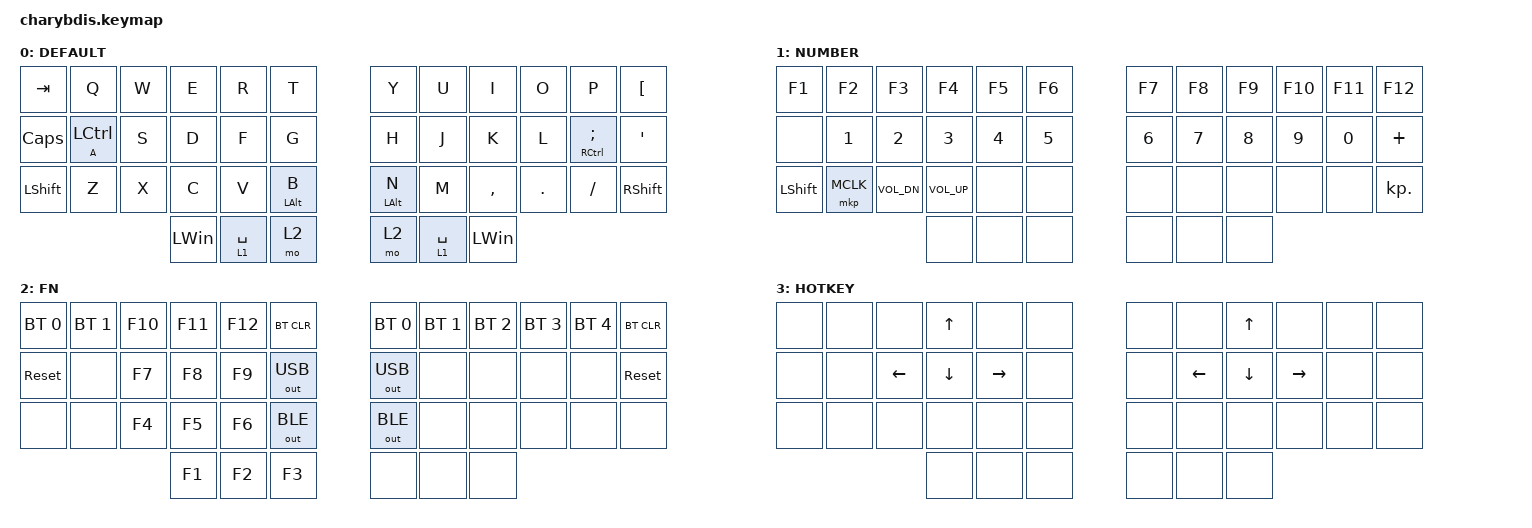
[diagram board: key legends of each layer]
#include <dt-bindings/zmk/mouse.h>
#include <behaviors.dtsi>
#include <dt-bindings/zmk/bt.h>
#include <dt-bindings/zmk/keys.h>
#include <dt-bindings/zmk/outputs.h>

#define DEFAULT 0
#define NUMBER  1
#define FN  2
#define HOTKEY  3

/ {
    combos {
        compatible = "zmk,combos";

        scrollLayer {
            bindings = <&tog 3>;
            key-positions = <32 33>;
        };

        Enter {
            bindings = <&kp ENTER>;
            key-positions = <8 9>;
        };

        backspace {
            bindings = <&kp BACKSPACE>;
            key-positions = <7 8>;
        };

        delete {
            bindings = <&kp DELETE>;
            key-positions = <2 3>;
        };

        leftClick {
            bindings = <&mkp LCLK>;
            key-positions = <19 20>;
        };

        rightClick {
            bindings = <&mkp RCLK>;
            key-positions = <20 21>;
        };

        middleClick {
            bindings = <&mkp MCLK>;
            key-positions = <22 21>;
        };

        win {
            bindings = <&kp LEFT_WIN>;
            key-positions = <31 32>;
        };

        insert {
            bindings = <&kp INSERT>;
            key-positions = <34 33>;
        };
    };

    keymap {
        compatible = "zmk,keymap";

        default_layer {
            label = "DEFAULT";
            bindings = <
&kp TAB       &kp Q               &kp W  &kp E         &kp R        &kp T           &kp Y           &kp U        &kp I         &kp O    &kp P                        &kp LEFT_BRACKET
&kp CAPSLOCK  &mt A LEFT_CONTROL  &kp S  &kp D         &kp F        &kp G           &kp H           &kp J        &kp K         &kp L    &mt RIGHT_CONTROL SEMICOLON  &kp SQT
&kp LSHFT     &kp Z               &kp X  &kp C         &kp V        &mt LEFT_ALT B  &mt LEFT_ALT N  &kp M        &kp COMMA     &kp DOT  &kp FSLH                     &kp RSHFT
                                         &kp LEFT_WIN  &lt 1 SPACE  &mo 2           &mo 2           &lt 1 SPACE  &kp LEFT_WIN
            >;
        };

        number_layer {
            label = "NUMBER";
            bindings = <
&kp F1     &kp F2     &kp F3        &kp F4        &kp F5  &kp F6  &kp F7  &kp F8  &kp F9  &kp F10  &kp F11  &kp F12
&none      &kp N1     &kp N2        &kp N3        &kp N4  &kp N5  &kp N6  &kp N7  &kp N8  &kp N9   &kp N0   &kp PLUS
&kp LSHFT  &mkp MCLK  &kp C_VOL_DN  &kp C_VOL_UP  &none   &none   &none   &none   &none   &none    &none    &kp KP_DOT
                                    &none         &none   &none   &none   &none   &none
            >;
        };

        fn_layer {
            label = "FN";
            bindings = <
&bt BT_SEL 0  &bt BT_SEL 1  &kp F10  &kp F11  &kp F12  &bt BT_CLR    &bt BT_SEL 0  &bt BT_SEL 1  &bt BT_SEL 2  &bt BT_SEL 3  &bt BT_SEL 4  &bt BT_CLR
&sys_reset    &none         &kp F7   &kp F8   &kp F9   &out OUT_USB  &out OUT_USB  &none         &none         &none         &none         &sys_reset
&none         &none         &kp F4   &kp F5   &kp F6   &out OUT_BLE  &out OUT_BLE  &none         &none         &none         &none         &none
                                     &kp F1   &kp F2   &kp F3        &none         &none         &none
            >;
        };

        hotkey_layer {
            label = "HOTKEY";
            bindings = <
&none  &none  &none     &kp UP    &none      &none  &none  &none     &kp UP    &none      &none  &none
&none  &none  &kp LEFT  &kp DOWN  &kp RIGHT  &none  &none  &kp LEFT  &kp DOWN  &kp RIGHT  &none  &none
&none  &none  &none     &none     &none      &none  &none  &none     &none     &none      &none  &none
                        &none     &none      &none  &none  &none     &none
            >;
        };
    };
};
